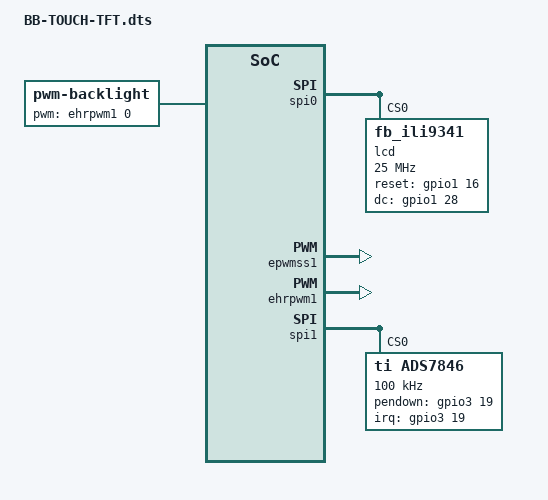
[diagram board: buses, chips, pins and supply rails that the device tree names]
/*
 * Touch LCD device tree
 *  - ILI9341 LCD device tree for a generic LCD display using the beaglebone black SPI0
 *  - TSC2046 resistive touch controller (TSC2046) using the beaglebone black SPI1
 *
 * Build
 *  dtc -O dtb -o BB-TOUCH-TFT.dtbo -b 0 -@ BB-TOUCH-TFT.dts
 *
 * Install
 *  sudo cp BB-TOUCH-TFT.dtbo /lib/firmware
 *  edit /boot/uEnv.txt as root and replace the ###Custom Cape line as shown below
 *
 *   ###Custom Cape
 *   dtb_overlay=/lib/firmware/BB-TOUCH-TFT.dtbo
 *
 * Reboot and you should be rewarded by a lit LCD and a /dev/fb0 entry for your pleasure.
 *
 * Based on the work by: AnthonyDiGirolamo and Ankit Daftery
 *
 */
/dts-v1/;
/plugin/;

/ {
compatible = "ti,beaglebone", "ti,beaglebone-black";

/* identification */
part-number = "BB-TOUCH-TFT";

/* version */
version = "00A0";

/* state the resources this cape uses */
exclusive-use = 
	/* the LCD pin header uses */
	"P9.22",	/* spi0_sclk */
	"P9.21",	/* spi0_d0 - MISO */
	"P9.18",	/* spi0_d1 - MOSI */
	"P9.17",	/* spi0_cs0 */
	"P9.15",	/* gpio1_16 - reset */
	"P9.12",	/* gpio1_28 - dc */
	"P9.14",	/* ehrpwm1a - backlight */
	/* the Touch pin header uses */
	"P9.28",	/* SPI1_cs1 */
	"P9.29",	/* SPI1_d0 - MISO */
	"P9.30",	/* SPI1_d1 - MOSI */
	"P2.31",	/* SPI1_sclk */
	"P9.27",	/* gpio3_19 - pendown */
	/* the hardware ip uses */
	"gpio1_16",
	"gpio1_28",
	"gpio3_19",
	"ehrpwm1a",
	"spi0",
	"spi1";

	fragment@0 {
		target = <&am33xx_pinmux>;
		__overlay__ {
			spi0_pins_s0: spi0_pins_s0 {
				pinctrl-single,pins = <
					0x150 0x30	/* P9_22: spi0_sclk, INPUT_PULLUP | MODE0 */
					0x154 0x30	/* P9_21: spi0_d0 MISO, INPUT_PULLUP | MODE0 */
					0x158 0x10	/* P9_18: spi0_d1 MOSI, OUTPUT_PULLUP | MODE0 */
					0x15c 0x10	/* P9_17: spi0_cs0, OUTPUT_PULLUP | MODE0 */
				>;
			};

			lcd_ctrl_pinmux: lcd_ctrl_pins {
				pinctrl-single,pins = <
					0x040 0x17	/* P9_15: gpio1_16 reset, OUTPUT_PULLUP | MODE7 */
					0x078 0x17	/* P9_12: gpio1_28 DC, OUTPUT_PULLUP | MODE7 */
				>;
			};

			pwm_bl_pins: pinmux_pwm_bl_pins {
				pinctrl-single,pins = <
					0x48 0x06	/* P9_14: ehrpwm1a, MODE6 */
				>;
			};

			spi1_pins_s0: spi1_pins_s0 {
				pinctrl-single,pins = <
					0x190 0x33	/* P9_31: spi1_sclk, INPUT_PULLUP | MODE3 */
					0x194 0x33	/* P9_29: spi1_d0 MISO, INPUT_PULLUP | MODE3 */
					0x198 0x13	/* P9_30: spi1_d1 MOSI, OUTPUT_PULLUP | MODE3 */
					0x19c 0x13	/* P9_28: spi1_cs0, OUTPUT_PULLUP | MODE3 */
				>;
			};

			touch_ctrl_pinmux: touch_ctrl_pins {
				pinctrl-single,pins = <
					0x1a4 0x37      /* P9_27: gpio3_19 IRQ, INPUT_PULL_UP | MODE7 */
				>;
			};
		};
	};

	fragment@1 {
		target = <&spi0>;
		__overlay__ {
			status = "okay";
			pinctrl-names = "default";
			pinctrl-0 = <&spi0_pins_s0>;
	
			#address-cells = <1>;
			#size-cells = <0>;
	
			lcd@0{
				compatible = "fb_ili9341";
				reg = <0>;
	
				pinctrl-names = "default";
				pinctrl-0 = <&lcd_ctrl_pinmux>;
	
				spi-max-frequency = <25000000>;
				rotate = <90>;
				bgr;
				fps = <30>;
				buswidth = <8>;
				reset-gpios = <&gpio1 16 0>;
				dc-gpios = <&gpio1 28 0>;
	
				debug = <3>;
			};
		};
	};
	
	fragment@2 {
		target = <&epwmss1>;
		__overlay__ {
			status = "okay";
		};
	};
	
	fragment@3 {
		target = <&ehrpwm1>;
		__overlay__ {
			status = "okay";
		};
	};
	
	fragment@4 {
		target = <&ocp>;
		__overlay__ {
			backlight {
				compatible = "pwm-backlight";
				pinctrl-names = "default";
				pinctrl-0 = <&pwm_bl_pins>;
				status = "okay";
	
				pwms = <&ehrpwm1 0 500000 0>;
				pwm-names = "backlight";
				brightness-levels = <0 4 8 16 32 64 128 255>;
				default-brightness-level = <7>; /* index to the array above */
			};
		};
	};

	fragment@5 {
		target = <&spi1>;
		__overlay__ {
			#address-cells = <0x1>;
	     	        #size-cells = <0>;
			status = "okay";
			pinctrl-names = "default";
			pinctrl-0 = <&spi1_pins_s0>;
			#ti,pindir-d0-out-d1-in = <1>;
 		    ads7846@0 {
				compatible = "ti,ads7846";
				spi-max-frequency = <100000>;   /* Higher frequency causes more jitter */
				interrupts = <19 0>;             /* pin number P9-27 and falling edge interrupt */
				interrupt-parent = <&gpio3>;
				pendown-gpio = <&gpio3 19 0>;        /* This corresponds to pin no P9-27 = GPIO3[19]*/
				reg = <0>;     /* We are using chip select 0, so we enter 0 here */
                #addr-size = <2>;
                #page-size = <32>;

                /* driver defaults */
                ti,x-min = /bits/ 16 <0xB0>;
                ti,y-min = /bits/ 16 <0x231>;
                ti,x-max = /bits/ 16 <0xF49>;
                ti,y-max = /bits/ 16 <0xF6B>;
                ti,pressure-min = /bits/ 16 <0>;
                ti,pressure-max = /bits/ 16 <0xFF>;
                ti,x-plate-ohms = /bits/ 16 <0x96>;
                ti,swap_xy = /bits/ 16 <0>;
                ti,keep_vref_on = /bits/ 16 <0>;
                ti,cs = /bits/ 16 <1>;
    		    linux,wakeup;
	        };
        };
    };
};
